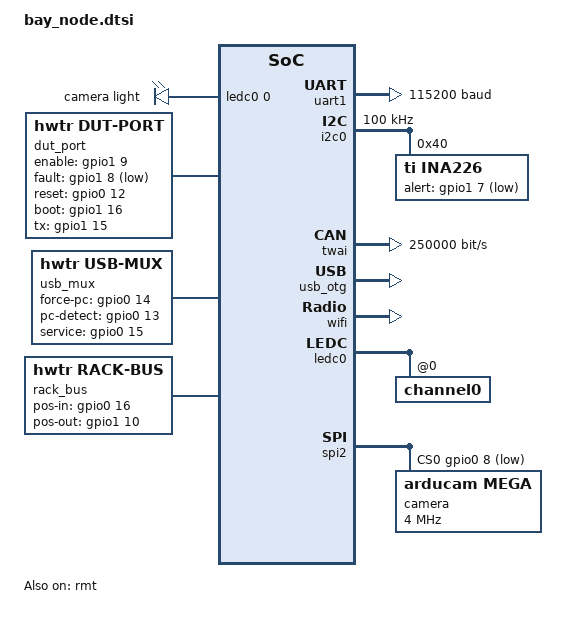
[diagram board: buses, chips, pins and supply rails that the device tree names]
/*
 * Bay node peripherals, shared by the board definition and by the
 * esp32s3_devkitc stand-in overlay (firmware/bay-node/boards/).
 *
 * Source of truth: electronics/bay-node/design.py.  Keep the pin table in
 * firmware/README.md in sync with this file.
 *
 * SPDX-License-Identifier: Apache-2.0
 */

#include <zephyr/dt-bindings/gpio/gpio.h>
#include <zephyr/dt-bindings/i2c/i2c.h>
#include <zephyr/dt-bindings/led/led.h>
#include <zephyr/dt-bindings/pwm/pwm.h>

/ {
	aliases {
		led-strip = &status_led;
	};

	/*
	 * The camera's light: a few white 5 V LEDs on the pod, switched low-side
	 * on LED_K.  25 kHz: slow PWM bands a rolling shutter.
	 */
	camera_light: camera-light {
		compatible = "pwm-leds";

		camera_light_led: light {
			label = "camera light";
			pwms = <&ledc0 0 PWM_KHZ(25) PWM_POLARITY_NORMAL>;
		};
	};

	dut_port: dut-port {
		compatible = "hwtr,dut-port";
		/* IO41 DUT_EN -> TPS2553 EN (100k pull-up: on by default) */
		enable-gpios = <&gpio1 9 GPIO_ACTIVE_HIGH>;
		/* IO40 DUT_FLT_N <- TPS2553 ~FAULT (10k pull-up) */
		fault-gpios = <&gpio1 8 (GPIO_ACTIVE_LOW | GPIO_PULL_UP)>;
		/* IO12 AUX_RST_CTL / IO48 AUX_BOOT_CTL -> 2N7002 gates (100k pull-downs) */
		reset-gpios = <&gpio0 12 GPIO_ACTIVE_HIGH>;
		boot-gpios = <&gpio1 16 GPIO_ACTIVE_HIGH>;
		power-monitor = <&ina226>;
		uart = <&uart1>;
		/* IO47 AUX_TX as a GPIO: released while the DUT is off, low for a BREAK */
		tx-gpios = <&gpio1 15 GPIO_ACTIVE_HIGH>;
	};

	usb_mux: usb-mux {
		compatible = "hwtr,usb-mux";
		/* IO14 MUX_FORCE_PC -> OR gate (100k pull-down) */
		force-pc-gpios = <&gpio0 14 GPIO_ACTIVE_HIGH>;
		/* IO13 PC_DET <- front port VBUS, 10k/20k divider */
		pc-detect-gpios = <&gpio0 13 (GPIO_ACTIVE_HIGH | GPIO_PULL_DOWN)>;
		/* IO15 SVC <- SERVICE slide switch */
		service-gpios = <&gpio0 15 (GPIO_ACTIVE_HIGH | GPIO_PULL_DOWN)>;
	};

	/* Rack bus (docs/can.md): CAN on the row cable, and the POS addressing token */
	rack_bus: rack-bus {
		compatible = "hwtr,rack-bus";
		/* IO16 POS_IN <- J1.6 through 10k and a BAT54S clamp, 100k pull-down */
		pos-in-gpios = <&gpio0 16 GPIO_ACTIVE_HIGH>;
		/* IO42 POS_OUT -> J2.1 (J2 is J1 mirrored) through 10k and a BAT54S clamp: low until the node has an address */
		pos-out-gpios = <&gpio1 10 GPIO_ACTIVE_HIGH>;
		can = <&twai>;
	};

	status_led: ws2812 {
		compatible = "worldsemi,ws2812-pulse-io";
		pulse-ios = <&rmt 0>;
		chain-length = <1>;
		color-mapping = <LED_COLOR_ID_GREEN
				 LED_COLOR_ID_RED
				 LED_COLOR_ID_BLUE>;
		reset-delay = <300>;
	};
};

&gpio0 {
	status = "okay";
};

&gpio1 {
	status = "okay";
};

&uart1 {
	status = "okay";
	current-speed = <115200>;
	pinctrl-0 = <&bay_aux_uart_default>;
	pinctrl-names = "default";
};

/*
 * 100 kHz: the bus goes out on the DATA lead (J7, 45 cm) to the DATA board,
 * through its isolation FETs; 400 kHz is out of reach on rise time there.
 * firmware/bay-node/i2c-400k.overlay tries 400 kHz at bring-up.
 */
&i2c0 {
	status = "okay";
	clock-frequency = <I2C_BITRATE_STANDARD>;
	pinctrl-0 = <&bay_i2c0_default>;
	pinctrl-names = "default";

	/* U10, A0 = A1 = GND; 50 mOhm shunt R19 -> 81.92 mV / 50 mOhm = 1.64 A full scale */
	ina226: ina226@40 {
		compatible = "ti,ina226";
		reg = <0x40>;
		current-lsb-microamps = <50>;
		rshunt-micro-ohms = <50000>;
		/* 4 averages: 8.8 ms a reading, the ALERT that sheds a DATA x4 port */
		avg-count = <4>;
		/* IO39 INA_ALERT_N (10k pull-up): src/ports.c sets it and takes its interrupt */
		alert-gpios = <&gpio1 7 GPIO_ACTIVE_LOW>;
	};
};

/* IO18/IO17: TWAI on the TJA1462AT (U11, VIO 3.3 V, STB tied low on the board) */
&twai {
	status = "okay";
	pinctrl-0 = <&bay_twai_default>;
	pinctrl-names = "default";
	bitrate = <250000>;
};

&rmt {
	status = "okay";
	pinctrl-0 = <&bay_led_default>;
	pinctrl-names = "default";
};

/* IO19/IO20: the internal full-speed PHY, wired to MUX_DUT (DUT) and MUX_PC (SERVICE) */
zephyr_uhc0: &usb_otg {
	status = "okay";
};

&wifi {
	status = "okay";
};

&ledc0 {
	pinctrl-0 = <&bay_ledc0_default>;
	pinctrl-names = "default";
	status = "okay";
	#address-cells = <1>;
	#size-cells = <0>;

	channel0@0 {
		reg = <0x0>;
		timer = <0>;
	};
};

/*
 * J6: the bay camera, an Arducam Mega on a ~50 cm lead: SPI mode 0 at 4 MHz
 * (2 MHz if the lead misbehaves).  No DMA: the CPU copies into the frame
 * buffer in PSRAM.  Optional: without a camera its driver fails to start
 * and the node runs on, the API says "no camera".
 */
&spi2 {
	#address-cells = <1>;
	#size-cells = <0>;
	status = "okay";
	pinctrl-0 = <&bay_spim2_default>;
	pinctrl-names = "default";
	cs-gpios = <&gpio0 8 GPIO_ACTIVE_LOW>;

	camera: camera@0 {
		compatible = "arducam,mega";
		reg = <0>;
		spi-max-frequency = <4000000>;
	};
};
